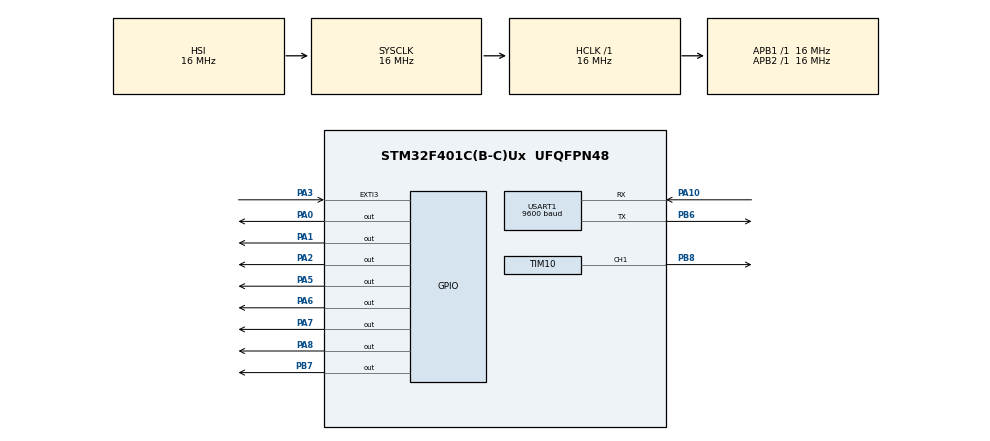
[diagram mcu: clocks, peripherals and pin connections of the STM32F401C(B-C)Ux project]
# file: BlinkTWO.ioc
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Mcu.Family=STM32F4
Mcu.Name=STM32F401C(B-C)Ux
Mcu.Package=UFQFPN48
NVIC.EXTI3_IRQn=true\:0\:0\:false\:false\:true\:true\:true\:true
NVIC.PriorityGroup=NVIC_PRIORITYGROUP_4
NVIC.USART1_IRQn=true\:0\:0\:false\:false\:true\:true\:true\:true
PA0-WKUP.PinState=GPIO_PIN_RESET
PA0-WKUP.Signal=GPIO_Output
PA1.PinState=GPIO_PIN_RESET
PA1.Signal=GPIO_Output
PA10.Mode=Asynchronous
PA10.Signal=USART1_RX
PA13.Mode=Trace_Asynchronous_SW
PA13.Signal=SYS_JTMS-SWDIO
PA14.Mode=Trace_Asynchronous_SW
PA14.Signal=SYS_JTCK-SWCLK
PA2.PinState=GPIO_PIN_SET
PA2.Signal=GPIO_Output
PA3.GPIO_ModeDefaultEXTI=GPIO_MODE_IT_FALLING
PA3.GPIO_PuPd=GPIO_NOPULL
PA3.Signal=GPXTI3
PA5.Signal=GPIO_Output
PA6.Signal=GPIO_Output
PA7.Signal=GPIO_Output
PA8.PinState=GPIO_PIN_SET
PA8.Signal=GPIO_Output
PB3.Mode=Trace_Asynchronous_SW
PB3.Signal=SYS_JTDO-SWO
PB6.Mode=Asynchronous
PB6.Signal=USART1_TX
PB7.PinState=GPIO_PIN_RESET
PB7.Signal=GPIO_Output
PB8.Signal=S_TIM10_CH1
PC14-OSC32_IN.Mode=LSE-External-Oscillator
PC14-OSC32_IN.Signal=RCC_OSC32_IN
PC15-OSC32_OUT.Mode=LSE-External-Oscillator
PC15-OSC32_OUT.Signal=RCC_OSC32_OUT
PH0\ -\ OSC_IN.Mode=HSE-External-Oscillator
PH0\ -\ OSC_IN.Signal=RCC_OSC_IN
PH1\ -\ OSC_OUT.Mode=HSE-External-Oscillator
PH1\ -\ OSC_OUT.Signal=RCC_OSC_OUT
ProjectManager.HeapSize=0x200
ProjectManager.StackSize=0x400
ProjectManager.TargetToolchain=STM32CubeIDE
RCC.48MHZClocksFreq_Value=48000000
RCC.AHBFreq_Value=16000000
RCC.APB1Freq_Value=16000000
RCC.APB1TimFreq_Value=16000000
RCC.APB2Freq_Value=16000000
RCC.APB2TimFreq_Value=16000000
RCC.CortexFreq_Value=16000000
RCC.HCLKFreq_Value=16000000
RCC.HSE_VALUE=25000000
RCC.HSI_VALUE=16000000
RCC.SYSCLKFreq_VALUE=16000000
RCC.VCOOutputFreq_Value=192000000
SH.S_TIM10_CH1.0=TIM10_CH1,PWM Generation1 CH1
TIM10.Channel=TIM_CHANNEL_1
TIM10.Period=100-1
TIM10.Prescaler=16-1
TIM11.Prescaler=16-1
USART1.BaudRate=9600
USART1.VirtualMode=VM_ASYNC
VP_TIM10_VS_ClockSourceINT.Mode=Enable_Timer
VP_TIM11_VS_ClockSourceINT.Mode=Enable_Timer
VP_TIM1_VS_ClockSourceINT.Mode=Internal
board=custom

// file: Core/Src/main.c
/* USER CODE BEGIN Header */
/**
  ******************************************************************************
  * @file           : main.c
  * @brief          : Main program body
  ******************************************************************************
  * @attention
  *
  * Copyright (c) 2023 STMicroelectronics.
  * All rights reserved.
  *
  * This software is licensed under terms that can be found in the LICENSE file
  * in the root directory of this software component.
  * If no LICENSE file comes with this software, it is provided AS-IS.
  *
  ******************************************************************************
  */
/* USER CODE END Header */
#include "main.h"

TIM_HandleTypeDef htim1;
TIM_HandleTypeDef htim10;
TIM_HandleTypeDef htim11;

UART_HandleTypeDef huart1;

void SystemClock_Config(void);
static void MX_GPIO_Init(void);
static void MX_TIM1_Init(void);
static void MX_TIM11_Init(void);
static void MX_USART1_UART_Init(void);
static void MX_TIM10_Init(void);
/* USER CODE BEGIN PFP */
void UART_SendNumber(uint16_t A_u32Number);
/* USER CODE END PFP */

/* USER CODE BEGIN 0 */
volatile  uint8_t   Counter = 0 ;
volatile uint16_t	  temp,Start_temp;
/* USER CODE END 0 */

int main(void)
{

  /* MCU Configuration--------------------------------------------------------*/

  /* Reset of all peripherals, Initializes the Flash interface and the Systick. */
  HAL_Init();

  /* Configure the system clock */
  SystemClock_Config();

  /* Initialize all configured peripherals */
  MX_GPIO_Init();
  MX_TIM1_Init();
  MX_TIM11_Init();
  MX_USART1_UART_Init();
  MX_TIM10_Init();
  /* USER CODE BEGIN 2 */
HAL_TIM_Base_Start(&htim11);
uint16_t Tim ;
Tim = __HAL_TIM_GET_COUNTER(&htim11);
uint16_t Tim2;
uint8_t TimStr='-';
uint8_t Str = 'T';
for (int i = 0 ; i <=10; i++){HAL_UART_Transmit(&huart1, &TimStr, sizeof(TimStr), 50);}
uint8_t u8_Speed = 50;
HAL_UART_Transmit(&huart1, &Str, sizeof(TimStr), 50);
TIM10->CCR1 =u8_Speed;
HAL_TIM_PWM_Start(&htim10, TIM_CHANNEL_1);;
  /* USER CODE END 2 */

  /* Infinite loop */
  /* USER CODE BEGIN WHILE */
  while (1)
 {if (u8_Speed >=100)u8_Speed =100;if(u8_Speed <=10)u8_Speed =10;

	  Str ='T';
	  HAL_UART_Receive(&huart1, &Str, sizeof(Str), 50);

	if (Str != 'T'){

		  if(Str == 'F'){
			  HAL_GPIO_WritePin(GPIOA, GPIO_PIN_5, GPIO_PIN_SET);
			  HAL_GPIO_WritePin(GPIOA, GPIO_PIN_6, GPIO_PIN_RESET);
			  HAL_GPIO_WritePin(GPIOA, GPIO_PIN_7, GPIO_PIN_SET);
			  HAL_GPIO_WritePin(GPIOA, GPIO_PIN_8, GPIO_PIN_RESET);
			  u8_Speed+=10;
			 			  TIM10->CCR1 =u8_Speed;
		  }
		  else if(Str == 'B'){
		 			  HAL_GPIO_WritePin(GPIOA, GPIO_PIN_5, GPIO_PIN_RESET);
		 			  HAL_GPIO_WritePin(GPIOA, GPIO_PIN_6, GPIO_PIN_SET);
		 			  HAL_GPIO_WritePin(GPIOA, GPIO_PIN_7, GPIO_PIN_RESET);
		 			  HAL_GPIO_WritePin(GPIOA, GPIO_PIN_8, GPIO_PIN_SET);
		 			 u8_Speed -= 10;
		 					 			  TIM10->CCR1 =u8_Speed;

		 		  }
		  else if(Str == 'L'){
			  	  	  	  	  	  	  HAL_GPIO_WritePin(GPIOA, GPIO_PIN_5, GPIO_PIN_SET);
						 			  HAL_GPIO_WritePin(GPIOA, GPIO_PIN_6, GPIO_PIN_RESET);
						 			  HAL_GPIO_WritePin(GPIOA, GPIO_PIN_7, GPIO_PIN_RESET);
						 			  HAL_GPIO_WritePin(GPIOA, GPIO_PIN_8, GPIO_PIN_RESET);
		 		  }
		  else if(Str == 'R'){
					  	  	  	  	  	  	  HAL_GPIO_WritePin(GPIOA, GPIO_PIN_5, GPIO_PIN_RESET);
								 			  HAL_GPIO_WritePin(GPIOA, GPIO_PIN_6, GPIO_PIN_RESET);
								 			  HAL_GPIO_WritePin(GPIOA, GPIO_PIN_7, GPIO_PIN_SET);
								 			  HAL_GPIO_WritePin(GPIOA, GPIO_PIN_8, GPIO_PIN_RESET);
				 		  }
		  else if(Str == 'W'){
			  u8_Speed+=10;
			  TIM10->CCR1 =u8_Speed;

		 				 		  }
		  else if(Str == 'w'){
		 			  u8_Speed -= 10;
		 			  TIM10->CCR1 =u8_Speed;

		 		 				 		  }
		  else{ HAL_GPIO_WritePin(GPIOA, GPIO_PIN_5, GPIO_PIN_RESET);
			  HAL_GPIO_WritePin(GPIOA, GPIO_PIN_6, GPIO_PIN_RESET);
			  HAL_GPIO_WritePin(GPIOA, GPIO_PIN_7, GPIO_PIN_RESET);
			  HAL_GPIO_WritePin(GPIOA, GPIO_PIN_8, GPIO_PIN_RESET);
			  Str ='T';
		  }

		  HAL_UART_Transmit(&huart1, &Str, sizeof(Str), 50);

	  }
	else{
		HAL_GPIO_WritePin(GPIOA, GPIO_PIN_5, GPIO_PIN_RESET);
	  HAL_GPIO_WritePin(GPIOA, GPIO_PIN_6, GPIO_PIN_RESET);
	  HAL_GPIO_WritePin(GPIOA, GPIO_PIN_7, GPIO_PIN_RESET);
	  HAL_GPIO_WritePin(GPIOA, GPIO_PIN_8, GPIO_PIN_RESET);
	  Str ='T';}

//if (__HAL_TIM_GET_COUNTER(&htim11) -Tim >= 10000)
//{
//Tim2++;
//
//Tim = __HAL_TIM_GET_COUNTER(&htim11);
//}
//if (Tim2 ==100){
//HAL_GPIO_TogglePin(GPIOB, GPIO_PIN_7);
//Tim2=0;
//
//}
    /* USER CODE END WHILE */

  }
}

void SystemClock_Config(void)
{
  RCC_OscInitTypeDef RCC_OscInitStruct = {0};
  RCC_ClkInitTypeDef RCC_ClkInitStruct = {0};

  /** Configure the main internal regulator output voltage
  */
  __HAL_RCC_PWR_CLK_ENABLE();
  __HAL_PWR_VOLTAGESCALING_CONFIG(PWR_REGULATOR_VOLTAGE_SCALE2);

  /** Initializes the RCC Oscillators according to the specified parameters
  * in the RCC_OscInitTypeDef structure.
  */
  RCC_OscInitStruct.OscillatorType = RCC_OSCILLATORTYPE_HSI;
  RCC_OscInitStruct.HSIState = RCC_HSI_ON;
  RCC_OscInitStruct.HSICalibrationValue = RCC_HSICALIBRATION_DEFAULT;
  RCC_OscInitStruct.PLL.PLLState = RCC_PLL_NONE;
  if (HAL_RCC_OscConfig(&RCC_OscInitStruct) != HAL_OK)
  {
    Error_Handler();
  }

  /** Initializes the CPU, AHB and APB buses clocks
  */
  RCC_ClkInitStruct.ClockType = RCC_CLOCKTYPE_HCLK|RCC_CLOCKTYPE_SYSCLK
                              |RCC_CLOCKTYPE_PCLK1|RCC_CLOCKTYPE_PCLK2;
  RCC_ClkInitStruct.SYSCLKSource = RCC_SYSCLKSOURCE_HSI;
  RCC_ClkInitStruct.AHBCLKDivider = RCC_SYSCLK_DIV1;
  RCC_ClkInitStruct.APB1CLKDivider = RCC_HCLK_DIV1;
  RCC_ClkInitStruct.APB2CLKDivider = RCC_HCLK_DIV1;

  if (HAL_RCC_ClockConfig(&RCC_ClkInitStruct, FLASH_LATENCY_0) != HAL_OK)
  {
    Error_Handler();
  }
}

static void MX_TIM1_Init(void)
{

  TIM_ClockConfigTypeDef sClockSourceConfig = {0};
  TIM_MasterConfigTypeDef sMasterConfig = {0};

  htim1.Instance = TIM1;
  htim1.Init.Prescaler = 0;
  htim1.Init.CounterMode = TIM_COUNTERMODE_UP;
  htim1.Init.Period = 65535;
  htim1.Init.ClockDivision = TIM_CLOCKDIVISION_DIV1;
  htim1.Init.RepetitionCounter = 0;
  htim1.Init.AutoReloadPreload = TIM_AUTORELOAD_PRELOAD_DISABLE;
  if (HAL_TIM_Base_Init(&htim1) != HAL_OK)
  {
    Error_Handler();
  }
  sClockSourceConfig.ClockSource = TIM_CLOCKSOURCE_INTERNAL;
  if (HAL_TIM_ConfigClockSource(&htim1, &sClockSourceConfig) != HAL_OK)
  {
    Error_Handler();
  }
  sMasterConfig.MasterOutputTrigger = TIM_TRGO_RESET;
  sMasterConfig.MasterSlaveMode = TIM_MASTERSLAVEMODE_DISABLE;
  if (HAL_TIMEx_MasterConfigSynchronization(&htim1, &sMasterConfig) != HAL_OK)
  {
    Error_Handler();
  }

}

static void MX_TIM10_Init(void)
{

  TIM_OC_InitTypeDef sConfigOC = {0};

  htim10.Instance = TIM10;
  htim10.Init.Prescaler = 16-1;
  htim10.Init.CounterMode = TIM_COUNTERMODE_UP;
  htim10.Init.Period = 100-1;
  htim10.Init.ClockDivision = TIM_CLOCKDIVISION_DIV1;
  htim10.Init.AutoReloadPreload = TIM_AUTORELOAD_PRELOAD_DISABLE;
  if (HAL_TIM_Base_Init(&htim10) != HAL_OK)
  {
    Error_Handler();
  }
  if (HAL_TIM_PWM_Init(&htim10) != HAL_OK)
  {
    Error_Handler();
  }
  sConfigOC.OCMode = TIM_OCMODE_PWM1;
  sConfigOC.Pulse = 0;
  sConfigOC.OCPolarity = TIM_OCPOLARITY_HIGH;
  sConfigOC.OCFastMode = TIM_OCFAST_DISABLE;
  if (HAL_TIM_PWM_ConfigChannel(&htim10, &sConfigOC, TIM_CHANNEL_1) != HAL_OK)
  {
    Error_Handler();
  }
  HAL_TIM_MspPostInit(&htim10);

}

static void MX_TIM11_Init(void)
{

  htim11.Instance = TIM11;
  htim11.Init.Prescaler = 16-1;
  htim11.Init.CounterMode = TIM_COUNTERMODE_UP;
  htim11.Init.Period = 65535;
  htim11.Init.ClockDivision = TIM_CLOCKDIVISION_DIV1;
  htim11.Init.AutoReloadPreload = TIM_AUTORELOAD_PRELOAD_DISABLE;
  if (HAL_TIM_Base_Init(&htim11) != HAL_OK)
  {
    Error_Handler();
  }

}

static void MX_USART1_UART_Init(void)
{

  huart1.Instance = USART1;
  huart1.Init.BaudRate = 9600;
  huart1.Init.WordLength = UART_WORDLENGTH_8B;
  huart1.Init.StopBits = UART_STOPBITS_1;
  huart1.Init.Parity = UART_PARITY_NONE;
  huart1.Init.Mode = UART_MODE_TX_RX;
  huart1.Init.HwFlowCtl = UART_HWCONTROL_NONE;
  huart1.Init.OverSampling = UART_OVERSAMPLING_16;
  if (HAL_UART_Init(&huart1) != HAL_OK)
  {
    Error_Handler();
  }

}

static void MX_GPIO_Init(void)
{
  GPIO_InitTypeDef GPIO_InitStruct = {0};

  /* GPIO Ports Clock Enable */
  __HAL_RCC_GPIOC_CLK_ENABLE();
  __HAL_RCC_GPIOH_CLK_ENABLE();
  __HAL_RCC_GPIOA_CLK_ENABLE();
  __HAL_RCC_GPIOB_CLK_ENABLE();

  /*Configure GPIO pin Output Level */
  HAL_GPIO_WritePin(GPIOA, GPIO_PIN_0|GPIO_PIN_1|GPIO_PIN_5|GPIO_PIN_6
                          |GPIO_PIN_7, GPIO_PIN_RESET);

  /*Configure GPIO pin Output Level */
  HAL_GPIO_WritePin(GPIOA, GPIO_PIN_2|GPIO_PIN_8, GPIO_PIN_SET);

  /*Configure GPIO pin Output Level */
  HAL_GPIO_WritePin(GPIOB, GPIO_PIN_7, GPIO_PIN_RESET);

  /*Configure GPIO pins : PA0 PA1 PA2 PA5
                           PA6 PA7 PA8 */
  GPIO_InitStruct.Pin = GPIO_PIN_0|GPIO_PIN_1|GPIO_PIN_2|GPIO_PIN_5
                          |GPIO_PIN_6|GPIO_PIN_7|GPIO_PIN_8;
  GPIO_InitStruct.Mode = GPIO_MODE_OUTPUT_PP;
  GPIO_InitStruct.Pull = GPIO_NOPULL;
  GPIO_InitStruct.Speed = GPIO_SPEED_FREQ_LOW;
  HAL_GPIO_Init(GPIOA, &GPIO_InitStruct);

  /*Configure GPIO pin : PA3 */
  GPIO_InitStruct.Pin = GPIO_PIN_3;
  GPIO_InitStruct.Mode = GPIO_MODE_IT_FALLING;
  GPIO_InitStruct.Pull = GPIO_NOPULL;
  HAL_GPIO_Init(GPIOA, &GPIO_InitStruct);

  /*Configure GPIO pin : PB7 */
  GPIO_InitStruct.Pin = GPIO_PIN_7;
  GPIO_InitStruct.Mode = GPIO_MODE_OUTPUT_PP;
  GPIO_InitStruct.Pull = GPIO_NOPULL;
  GPIO_InitStruct.Speed = GPIO_SPEED_FREQ_LOW;
  HAL_GPIO_Init(GPIOB, &GPIO_InitStruct);

  /* EXTI interrupt init*/
  HAL_NVIC_SetPriority(EXTI3_IRQn, 0, 0);
  HAL_NVIC_EnableIRQ(EXTI3_IRQn);

}

/* USER CODE BEGIN 4 */
void HAL_GPIO_EXTI_Callback(uint16_t GPIO_Pin)
{
uint8_t Get = '\n';
uint8_t Start = '\r';
Counter ++;
uint8_t ONE = '1';
uint8_t ZERO = '0';

  if(GPIO_Pin == GPIO_PIN_3) {

	  UART_SendNumber(temp -__HAL_TIM_GET_COUNTER(&htim11));

	  HAL_UART_Transmit(&huart1, &Get, sizeof(Get), 50);
	  HAL_UART_Transmit(&huart1, &Start, sizeof(Get), 50);
	  temp =__HAL_TIM_GET_COUNTER(&htim11);
	  // HAL_UART_Transmit(&huart1, &Get, sizeof(Get), 500);
//	  HAL_GPIO_WritePin(GPIOA, GPIO_PIN_1,GPIO_PIN_SET);
//if(Counter ==1){
//	Start_temp = __HAL_TIM_GET_COUNTER(&htim11);
//Counter++;
//temp=Start_temp;
//}
//if((Counter ==2 )&&( __HAL_TIM_GET_COUNTER(&htim11) - temp <=60))
//		{
//	HAL_UART_Transmit(&huart1, &Get, sizeof(Get), 50);
//	temp=__HAL_TIM_GET_COUNTER(&htim11);
//		}
//else{
//	HAL_UART_Transmit(&huart1, &Start, sizeof(Get), 50);
//	temp=__HAL_TIM_GET_COUNTER(&htim11);
//
//}
  }
   else {
      __NOP();
  }

}
void UART_SendNumber(uint16_t A_s32Number)
{
	uint8_t L_u8Digits[10] = {0, 0,'\0'};
	uint8_t L_u8Counter = 0;
	uint8_t Arr[6];
	uint8_t Get = 'F';
	/* TODO: IMplement negative number handling  	*/
	/* TODO: implement Zero in units corner case    */
	/* save reversed in array */
	while(A_s32Number > 0)
	{
		L_u8Digits[L_u8Counter] = A_s32Number%10 ;
		L_u8Counter++;
		A_s32Number /= 10 ;

	}

	/* print array in reverese  */
	for(int8_t L_s8PrintIndex=L_u8Counter-1; L_s8PrintIndex >= 0; L_s8PrintIndex-- )
	{
		Arr[L_u8Counter-L_s8PrintIndex] = '0'+ L_u8Digits[L_s8PrintIndex];
		HAL_UART_Transmit(&huart1, &Arr[L_u8Counter-L_s8PrintIndex] , sizeof(Arr[L_u8Counter-L_s8PrintIndex]), 5);

	}
return ;
}
/* USER CODE END 4 */

void Error_Handler(void)
{
  __disable_irq();
  while (1)
  {
  }
}
